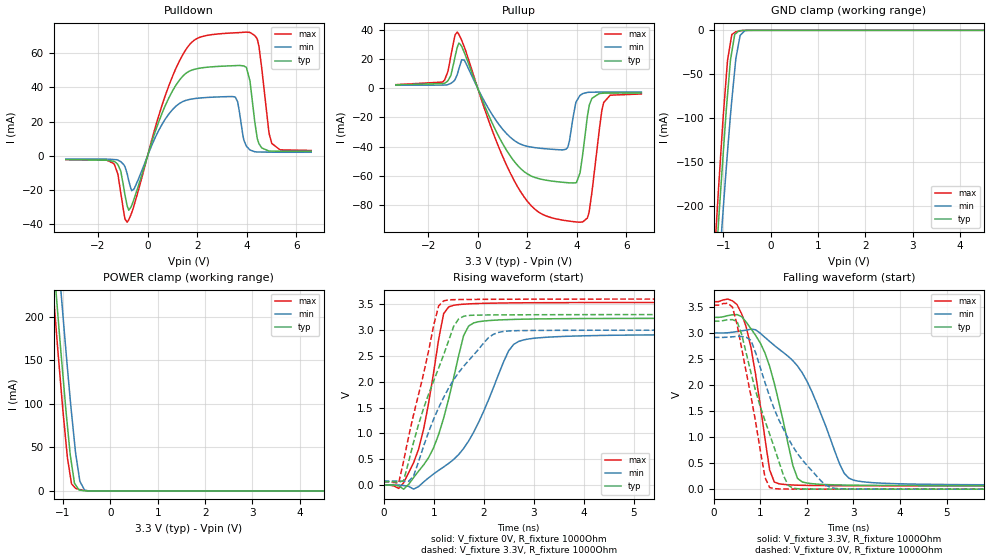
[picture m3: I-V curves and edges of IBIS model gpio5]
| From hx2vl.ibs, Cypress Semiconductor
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[Model]   gpio5
Model_type   I/O
Polarity   Non-Inverting
Enable   Active-Low
Vinl = 0.8
Vinh = 2.0
Vmeas = 1.65
Vref = 1.65
Cref = 15pF
Rref = 50
|   typ   min   max
C_comp   1.2pF   1.1pF   1.3pF
[Voltage Range]   3.3   3   3.6
[Temperature Range]   25   100   -20
[Pullup Reference]   3.3   3   3.6
[Pulldown Reference]   0   0   0
[Power Clamp Reference]   3.3   3   3.6
[GND Clamp Reference]   0   0   0
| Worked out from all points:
|   slope of the pulldown table from 0 to 0.495 V, typ, clamps not added: 22.9 ohm
|   slope of the pullup table from 0 to 0.495 V, typ, clamps not added: 24 ohm
|   GND clamp passes 1 mA (typ) near -0.68 V on its own axis
|   POWER clamp passes 1 mA (typ) near -0.64 V on its own axis
|   falling waveform, V_fixture 3.3V, R_fixture 1000Ohm: 20-80 % time 555ps typ, 878ps min, 379ps max; typ from 3.3 V to 0.067 V
|   rising waveform, V_fixture 0V, R_fixture 1000Ohm: 20-80 % time 561ps typ, 885ps min, 400ps max; typ from 0 V to 3.23 V
|   rising waveform, V_fixture 3.3V, R_fixture 1000Ohm: 20-80 % time 680ps typ, 936ps min, 495ps max; typ from 0.067 V to 3.3 V
|   falling waveform, V_fixture 0V, R_fixture 1000Ohm: 20-80 % time 652ps typ, 885ps min, 434ps max; typ from 3.23 V to 0 V
[Pulldown]
|   Voltage   I(typ)   I(min)   I(max)
-3.3V     -2.243mA   -1.973mA   -2.324mA
-1.37V    -3.234mA   -2.224mA   -4.574mA
-1.082V   -8.969mA   -3.464mA   -21.81mA
-825mV    -29.36mA   -10.43mA   -38.89mA
-546mV    -25.25mA   -19.45mA   -29.05mA
590.7mV   25.16mA    18.58mA    29.94mA
1.546V    48.21mA    32.38mA    62.13mA
3.537V    52.71mA    34.34mA    71.91mA
3.983V    51.72mA    5.61mA     72.33mA
4.49V     7.09mA     2.172mA    64.14mA
5.009V    2.717mA    2.058mA    7.171mA
6.6V      2.547mA    2.025mA    3.073mA
[GND Clamp]
|   Voltage   I(typ)   I(min)   I(max)
-3.3V     -2.159A    -2.038A    -2.25A
-1.194V   -297.2mA   -349.5mA   -263.5mA
-1.112V   -228.8mA   -286.6mA   -191.3mA
-1.1V     -219.1mA   -277.8mA   -181mA
-1.003V   -142mA     -205.4mA   -99.82mA
-909.6mV  -73.49mA   -138.2mA   -34.19mA
-848.1mV  -34.09mA   -96.85mA   -13.84mA
-819.6mV  -24.74mA   -79.79mA   -4.934mA
-733.2mV  -3.519mA   -32.03mA   -1.594mA
-642mV    -349.7uA   -5.667mA   -545.6uA
-488.4mV  -8.618uA   -136.8uA   -14.78uA
6.6V      0A         0A         0A
[Pullup]
|   Voltage   I(typ)   I(min)   I(max)
-3.3V     2.418mA    2.113mA    2.535mA
-1.417V   3.26mA     2.237mA    4.305mA
-1.082V   8.878mA    3.411mA    22.4mA
-825mV    28.28mA    9.519mA    38.67mA
-543mV    24.69mA    19.44mA    28.5mA
729.3mV   -29.1mA    -21.87mA   -35.38mA
1.726V    -55.07mA   -38.35mA   -70.96mA
3.561V    -64.78mA   -41.85mA   -90.96mA
4.125V    -58.18mA   -4.86mA    -92.02mA
4.501V    -11.45mA   -2.709mA   -84.09mA
5.077V    -3.332mA   -2.537mA   -9.854mA
6.6V      -3.164mA   -2.522mA   -3.87mA
[POWER Clamp]
|   Voltage   I(typ)   I(min)   I(max)
-3.3V     1.761A     1.814A     1.731A
-1.326V   351.6mA    421.7mA    310.9mA
-1.113V   205.6mA    275.9mA    164.5mA
-1.044V   159.7mA    230mA      119.5mA
-1.003V   133.9mA    203.1mA    93.12mA
-906mV    74.4mA     140.8mA    37.72mA
-819.6mV  31.46mA    89.46mA    8.279mA
-759mV    9.21mA     56.84mA    4.484mA
-663.3mV  1.274mA    18.02mA    1.803mA
-546mV    257.2uA    1.106mA    547.6uA
-465mV    49.42uA    104.1uA    141uA
6.6V      0A         0A         0A
[Ramp]
R_load = 1000
|   typ   min   max
dV/dt_r   1.93637/5.61152e-10   1.74875/8.85286e-10   2.11978/3.99641e-10
dV/dt_f   1.94006/5.54767e-10   1.75244/8.77549e-10   2.12218/3.78872e-10
[Falling Waveform]
V_fixture = 3.3V
V_fixture_min = 3V
V_fixture_max = 3.6V
R_fixture = 1000Ohm
C_fixture = 0F
|   Time   V(typ)   V(min)   V(max)
0s        3.3V       3V         3.6V
400ps     3.348V     3.014V     3.618V
700ps     3.204V     3.054V     3.105V
900ps     2.951V     3.061V     2.195V
1.2ns     2.359V     2.836V     370.9mV
1.3ns     2.035V     2.761V     137.8mV
1.8ns     206mV      2.365V     76.26mV
2.8ns     79.4mV     307mV      66.01mV
3ns       76.64mV    173.7mV    65.35mV
9ns       66.57mV    79.27mV    63.03mV
[Rising Waveform]
V_fixture = 0V
V_fixture_min = 0V
V_fixture_max = 0V
R_fixture = 1000Ohm
C_fixture = 0F
|   Time   V(typ)   V(min)   V(max)
0s        0V         0V         0V
300ps     -16.25mV   959.6uV    -64.52mV
700ps     271.3mV    -27.26mV   699.5mV
1.2ns     1.297V     351mV      3.317V
1.3ns     1.666V     419.2mV    3.448V
1.6ns     2.894V     709.2mV    3.501V
1.7ns     3.078V     853mV      3.507V
2.5ns     3.203V     2.599V     3.525V
2.7ns     3.209V     2.78V      3.527V
9ns       3.227V     2.915V     3.533V
[Rising Waveform]
V_fixture = 3.3V
V_fixture_min = 3V
V_fixture_max = 3.6V
R_fixture = 1000Ohm
C_fixture = 0F
|   Time   V(typ)   V(min)   V(max)
0s        66.53mV    78.56mV    63.03mV
300ps     54.65mV    79.19mV    37.96mV
400ps     87.81mV    71.84mV    466mV
600ps     834.7mV    178.4mV    1.369V
1.1ns     2.265V     1.498V     3.468V
1.2ns     2.521V     1.697V     3.565V
1.5ns     3.216V     2.177V     3.59V
2.1ns     3.292V     2.855V     3.595V
2.4ns     3.294V     2.974V     3.596V
9ns       3.3V       3V         3.6V
[Falling Waveform]
|Gnd
V_fixture = 0V
V_fixture_min = 0V
V_fixture_max = 0V
R_fixture = 1000Ohm
C_fixture = 0F
|   Time   V(typ)   V(min)   V(max)
0s        3.227V     2.915V     3.533V
400ps     3.256V     2.926V     3.498V
500ps     3.221V     2.933V     3.165V
600ps     2.972V     2.934V     2.699V
800ps     2.231V     2.858V     1.782V
1.1ns     1.317V     2.048V     227.6mV
1.2ns     1.057V     1.781V     31.55mV
1.6ns     73.62mV    973mV      2.294mV
2.5ns     1.475mV    36.71mV    925.1uV
9ns       7.646uV    54.49uV    1.53uV
